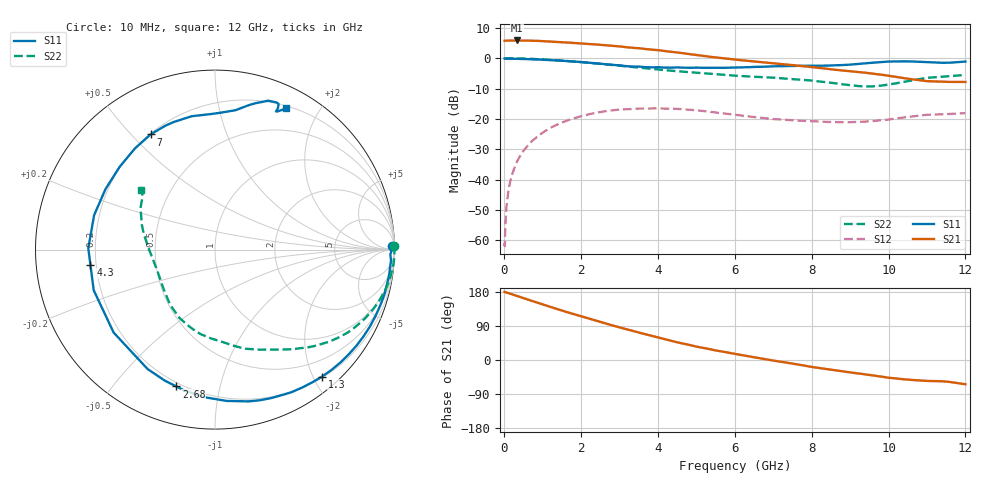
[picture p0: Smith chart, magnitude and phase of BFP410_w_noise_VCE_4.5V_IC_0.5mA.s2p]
! Infineon Technologies  Discrete & RF Semiconductors
! BFP410
! VCE =  4.5 V,  IC =  0.5 mA
! Common Emitter S-Parameters:  Nov 2015
# GHz  S  MA  R  50
!  f  S11  S21  S12  S22
! GHz  MAG  ANG  MAG  ANG  MAG  ANG  MAG  ANG
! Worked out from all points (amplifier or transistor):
!   243 points, 10 MHz to 12 GHz, reference 50 ohm
!   highest |S21| = 5.9 dB at 320 MHz (marker M1)
!   |S21| within 3 dB of that: start of sweep to 3.813 GHz
!   unconditionally stable (mu >= 1): 4.873 GHz to end of sweep
!   at 240 MHz: K = 0.03, MSG = 21.4 dB, |S12| = -37.0 dB
!   at 1.84 GHz: K = 0.24, MSG = 12.3 dB, |S12| = -19.7 dB
!   at 12 GHz: K = 1.45, MAG = 1.2 dB, |S12| = -18.1 dB
!   lowest NFmin = 0.85 dB at 900 MHz
!   S11 on the Smith chart (normalised r, x): 10 MHz: 40, +63; 1.3 GHz: 0.22, -2.13; 2.68 GHz: 0.18, -0.74; 4.3 GHz: 0.18, -0.06; 7 GHz: 0.20, +0.57; 12 GHz: 0.23, +1.60
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0.01  0.9859 1.3  1.94 179.7  0.0009 4.6  1 1.0
0.015  0.9853 0.6  1.941 179.6  0.0008 47.4  0.9964 0.8
0.03  0.9823 -0.6  1.943 179.1  0.0017 82.6  0.9952 0.3
0.05  0.9774 -1.6  1.944 178.1  0.003 83.7  1 -0.3
0.105  0.9823 -3.8  1.957 176.7  0.0062 85.6  1 -1.7
0.17  0.98 -6.2  1.959 174.5  0.0101 84.9  0.9994 -2.9
0.32  0.9774 -11.9  1.963 169.5  0.019 82.8  0.9952 -5.7
0.7  0.9637 -26.4  1.948 156.7  0.0417 74.7  0.9781 -12.4
1.3  0.9253 -49.9  1.875 137.0  0.0765 60.4  0.9317 -22.4
2.02  0.8631 -78.4  1.746 114.8  0.1117 43.1  0.8616 -33.3
2.68  0.7923 -105.8  1.628 95.2  0.1353 27.2  0.7856 -42.4
3.5  0.7298 -140.7  1.462 72.3  0.1482 9.1  0.6973 -52.8
4.1  0.7051 -165.3  1.333 57.0  0.1485 -1.9  0.6426 -60.1
4.3  0.6992 -172.9  1.286 52.0  0.1472 -5.5  0.626 -63.0
5  0.7003 164.1  1.132 35.4  0.1391 -16.8  0.5785 -72.8
6.1  0.7046 136.8  0.937 14.4  0.115 -27.2  0.5121 -86.6
7  0.7353 119.2  0.826 -1.5  0.0995 -28.7  0.478 -99.6
8.2  0.753 95.8  0.692 -21.2  0.0904 -25.7  0.4139 -122.0
9.4  0.8258 76.9  0.577 -38.0  0.0904 -18.2  0.3428 -157.6
10.2  0.8847 68.8  0.492 -48.7  0.1018 -14.7  0.3864 172.8
11  0.8617 66.0  0.419 -55.2  0.117 -17.5  0.4751 150.9
12  0.8807 63.3  0.407 -64.0  0.1244 -22.3  0.5309 141.3
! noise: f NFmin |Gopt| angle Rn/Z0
0.45  0.91  0.8  10  0.81
0.9  0.85  0.78  25  0.75
1.8  1.38  0.67  59  0.64
2.4  1.54  0.64  75  0.53
5.5  3.38  0.54  -159  0.23
